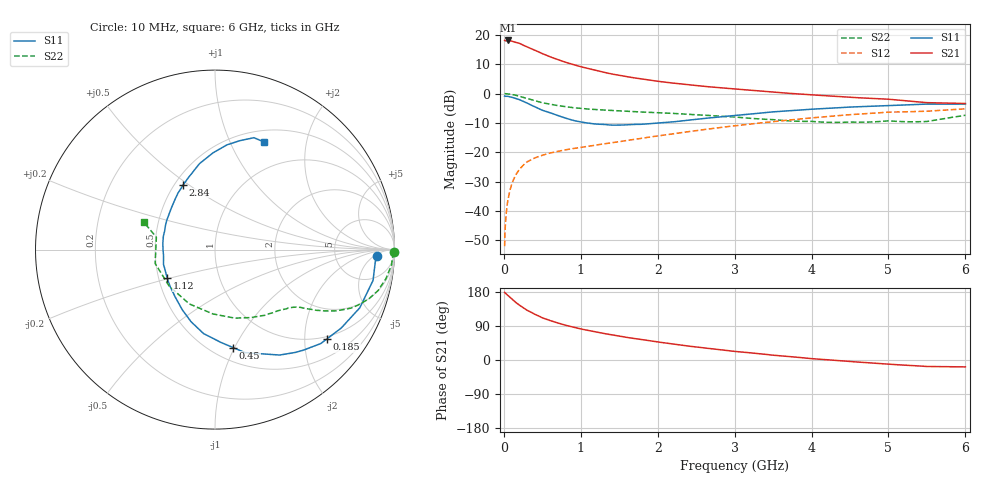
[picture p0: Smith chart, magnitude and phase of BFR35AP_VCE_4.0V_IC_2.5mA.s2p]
! Infineon Technologies  Discrete & RF Semiconductors
! BFR35AP
! VCE =  4.0 V,  IC =  2.5 mA
! Common Emitter S-Parameters:  Nov 2015
# GHz  S  MA  R  50
!  f  S11  S21  S12  S22
! GHz  MAG  ANG  MAG  ANG  MAG  ANG  MAG  ANG
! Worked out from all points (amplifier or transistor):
!   210 points, 10 MHz to 6 GHz, reference 50 ohm
!   highest |S21| = 18.1 dB at 50 MHz (marker M1)
!   |S21| within 3 dB of that: start of sweep to 375.7 MHz
!   unconditionally stable (mu >= 1): 1.084 GHz to 3.637 GHz
!   at 185 MHz: K = 0.25, MSG = 21.9 dB, |S12| = -26.5 dB
!   at 1.52 GHz: K = 1.13, MAG = 9.0 dB, |S12| = -16.3 dB
!   at 6 GHz: K = 0.98, MSG = 0.9 dB, |S12| = -5.2 dB
!   S11 on the Smith chart (normalised r, x): 10 MHz: 17, -7; 185 MHz: 0.93, -2.56; 450 MHz: 0.63, -0.99; 1.12 GHz: 0.55, -0.19; 2.84 GHz: 0.55, +0.48; 6 GHz: 0.63, +1.35
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0.01  0.9053 -2.3  8.006 178.3  0.0025 87.6  0.9972 -0.9
0.02  0.8957 -4.3  7.882 176.2  0.0058 88.7  0.9916 -1.9
0.05  0.8972 -11.0  8.019 170.8  0.0144 83.9  0.9871 -5.0
0.1  0.8695 -21.9  7.846 162.0  0.0279 77.5  0.9659 -9.7
0.15  0.8279 -31.9  7.478 152.7  0.0398 71.9  0.9377 -14.0
0.185  0.7977 -38.6  7.263 147.4  0.0472 68.5  0.9113 -16.6
0.24  0.7465 -48.6  6.776 139.4  0.0577 63.8  0.8676 -20.2
0.3  0.689 -58.5  6.244 131.5  0.0681 60.3  0.8249 -23.3
0.4  0.5982 -73.7  5.52 120.9  0.0796 54.9  0.7545 -26.9
0.45  0.555 -79.5  5.137 116.4  0.084 53.2  0.7249 -28.1
0.5  0.5185 -86.3  4.789 111.3  0.0885 51.7  0.6957 -29.4
0.7  0.4232 -108.4  3.789 97.7  0.1032 48.5  0.623 -32.2
0.82  0.3744 -120.3  3.352 90.8  0.1108 47.6  0.5925 -33.4
1.02  0.3241 -140.2  2.82 81.1  0.1214 48.1  0.5538 -35.3
1.12  0.3099 -149.3  2.619 77.0  0.1275 48.3  0.5405 -36.5
1.6  0.2927 173.2  1.927 59.6  0.1586 49.4  0.4982 -42.5
2.02  0.3149 148.2  1.604 47.1  0.1908 50.2  0.4689 -49.5
2.84  0.4028 116.0  1.244 26.5  0.2659 46.9  0.408 -68.8
3.1  0.4332 109.1  1.165 20.9  0.2913 44.7  0.3873 -77.0
4.1  0.5484 89.5  0.931 2.2  0.3937 34.1  0.3277 -120.4
5.1  0.6296 75.8  0.778 -12.3  0.4834 19.7  0.3355 -171.7
6  0.6588 65.7  0.676 -18.2  0.5482 8.7  0.4253 158.9
